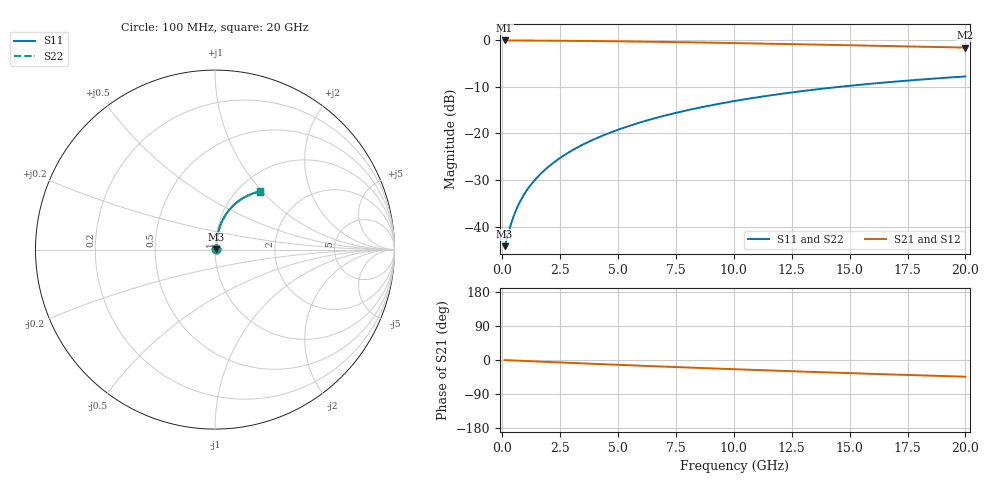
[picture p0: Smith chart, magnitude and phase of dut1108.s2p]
! Touchstone file exported from HFSS 2024.1.0
!  File:  C:/UserFiles/LocalFiles/RDL_TSV_Batchsim/temp_RDL_top_1108_1780046609.aedt
!  Generated:  05:25:42 PM May 29, 2026
!  Design:  RDL_top
!  Project:  temp_RDL_top_1108_1780046609
!  Setup:  Setup1
!  Solution:  Sweep
! Variables:
!  dtsv = 10.80580581um
!  hbump = 3um
!  htsv = 88.65um
!  ldown = 100um
!  lrdl = 607.21um
!  p = 40
!  p1 = 46.45um
!  rhole = 1um
!  t = 450um
!  tdown = 3.915915916um
!  trdl = 2.03um
!  wdown = 15.38538539um
!  wrdl = 19.49um
# GHz S MA R 50.000000
! Terminal data exported
! Port[1] = Box2_T1
! Port[2] = Box2_T2
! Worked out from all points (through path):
!   200 points, 100 MHz to 20 GHz, reference 50 ohm
!   highest |S21| = -0.05 dB at 100 MHz (marker M1); lowest = -1.6 dB at 20 GHz (marker M2)
!   group delay of S21, straight-line fit = 6.1 ps
!   lowest |S11| = -44.2 dB at 100 MHz (marker M3), VSWR 1.01, Z = 50.6 + j0.24 ohm
!   |S11| at or under -10 dB: start of sweep to 14.56 GHz
!   |S22| runs from -44.2 to -7.8 dB; largest |S21 - S12| = 2.7e-15
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0.1  0.006177 22.6  0.9943 -0.3  0.9943 -0.3  0.006177 22.6
! Gamma 0 0 0 0
! Port Impedance 50 0 50 0
0.4  0.01116 56.4  0.9938 -1.1  0.9938 -1.1  0.01115 56.4
0.5  0.01316 61.0  0.9935 -1.4  0.9935 -1.4  0.01316 61.0
0.6  0.01519 64.3  0.9933 -1.6  0.9933 -1.6  0.01519 64.3
0.7  0.01723 66.7  0.993 -1.9  0.993 -1.9  0.01723 66.7
0.9  0.02131 70.2  0.9925 -2.4  0.9925 -2.4  0.02131 70.2
1.2  0.02745 73.6  0.9917 -3.2  0.9917 -3.2  0.02745 73.6
1.4  0.03157 75.1  0.9912 -3.7  0.9912 -3.7  0.03157 75.1
1.7  0.0378 76.7  0.9903 -4.5  0.9903 -4.5  0.0378 76.7
2.2  0.04832 78.4  0.9886 -5.7  0.9886 -5.7  0.04832 78.4
2.8  0.06115 79.4  0.9862 -7.3  0.9862 -7.3  0.06116 79.4
3.5  0.07636 79.8  0.9829 -9.0  0.9829 -9.0  0.07637 79.8
4.2  0.0918 79.6  0.979 -10.8  0.979 -10.8  0.09182 79.7
5  0.1097 79.1  0.9739 -12.7  0.9739 -12.7  0.1097 79.1
5.9  0.13 78.1  0.9675 -14.9  0.9675 -14.9  0.13 78.2
6.8  0.1504 76.9  0.9605 -17.0  0.9605 -17.0  0.1505 77.0
8.4  0.1867 74.3  0.947 -20.7  0.947 -20.7  0.1868 74.4
10.1  0.2245 71.2  0.9314 -24.5  0.9314 -24.5  0.2246 71.2
11.7  0.2588 68.1  0.9161 -27.9  0.9161 -27.9  0.259 68.2
13.4  0.2936 64.8  0.8994 -31.5  0.8994 -31.5  0.2939 64.8
16.7  0.3553 58.4  0.8663 -38.0  0.8663 -38.0  0.3556 58.5
20  0.4087 52.4  0.8337 -44.0  0.8337 -44.0  0.409 52.4
